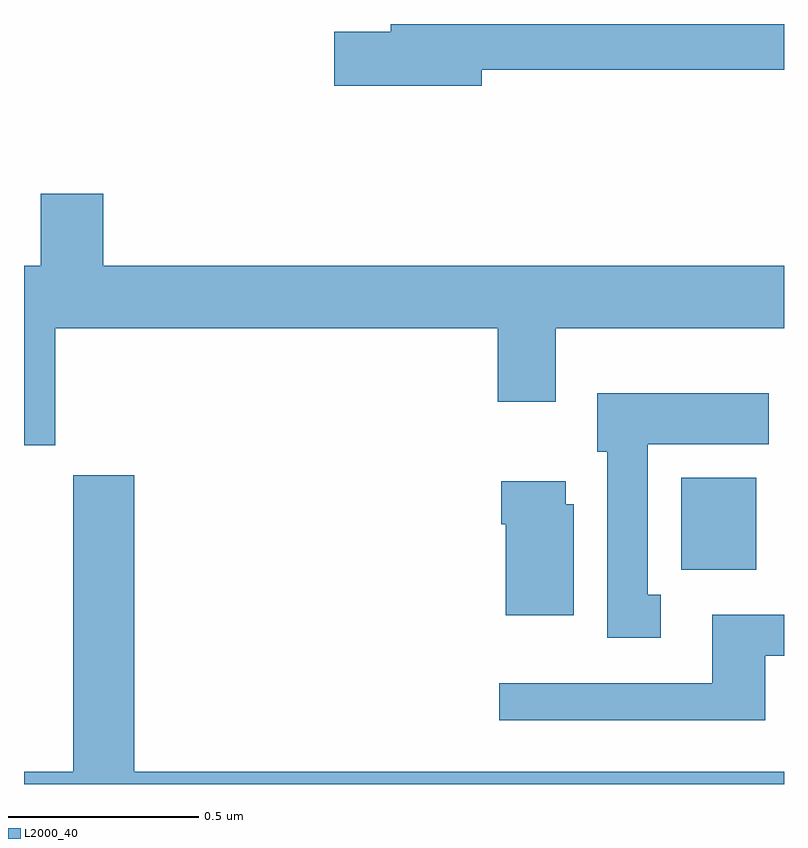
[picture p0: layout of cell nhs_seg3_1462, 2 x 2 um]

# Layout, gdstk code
import gdstk
lib = gdstk.Library(unit=1e-6, precision=1e-09)
def R(c, l, rs):  # rectangles x0, y0, x1, y1
    for r in rs: c.add(gdstk.rectangle(r[:2], r[2:], *l))
def P(c, l, *ps):  # polygons
    for p in ps: c.add(gdstk.Polygon(p, *l))
L2000_40 = (2000, 40)

nhs_seg3_1462 = lib.new_cell('nhs_seg3_1462')
R(nhs_seg3_1462, L2000_40, [(130.73,682.964,130.927,683.206)])
P(nhs_seg3_1462, L2000_40, [(130.204,684.28),(131,684.28),(131,684.4),(129.965,684.4),(129.965,684.38),(129.816,684.38),(129.816,684.238),(130.204,684.238)],
  [(129.082,683.6),(130.247,683.6),(130.247,683.406),(130.399,683.406),(130.399,683.6),(131,683.6),(131,683.764),(129.208,683.764),(129.208,683.953),(129.044,683.953),(129.044,683.764),(129,683.764),(129,683.291),(129.082,683.291)],
  [(130.675,682.898),(130.642,682.898),(130.642,683.294),(130.96,683.294),(130.96,683.428),(130.508,683.428),(130.508,683.274),(130.535,683.274),(130.535,682.785),(130.675,682.785)],
  [(131,682.432),(129.29,682.432),(129.29,683.212),(129.13,683.212),(129.13,682.432),(129,682.432),(129,682.4),(131,682.4)],
  [(130.447,683.136),(130.426,683.136),(130.426,683.197),(130.256,683.197),(130.256,683.084),(130.268,683.084),(130.268,682.844),(130.447,682.844)],
  [(130.951,682.737),(131,682.737),(131,682.846),(130.811,682.846),(130.811,682.665),(130.251,682.665),(130.251,682.568),(130.951,682.568)])

lib.write_gds('nhs_seg3_1462.gds')
